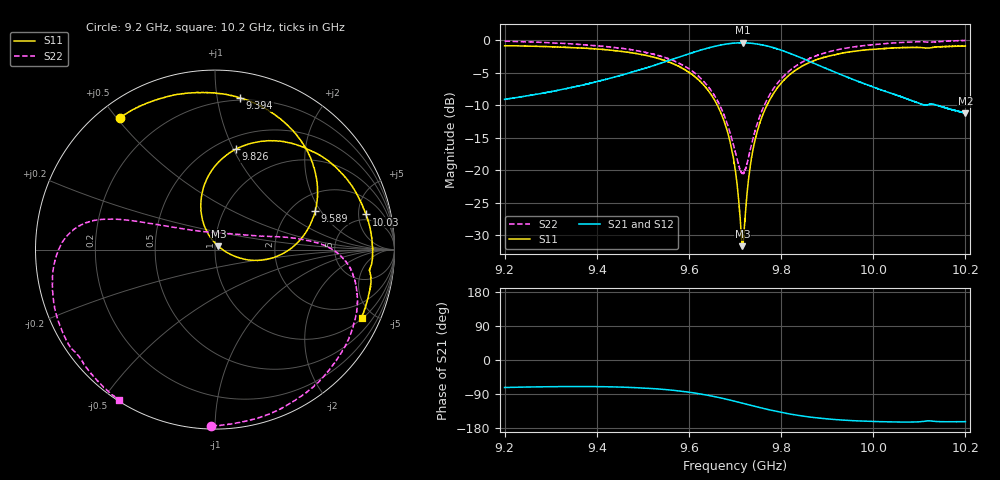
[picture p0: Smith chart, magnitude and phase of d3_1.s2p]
!Agilent Technologies,N5242A,MY51221714,A.09.90.19
!Agilent N5242A: A.09.90.19
!Date: Saturday, March 16, 2024 09:07:53
!Correction: S11(Full 2 Port(1,2))
!S21(Full 2 Port(1,2))
!S12(Full 2 Port(1,2))
!S22(Full 2 Port(1,2))
!S2P File: Measurements: S11, S21, S12, S22:
# Hz S  dB  R 50
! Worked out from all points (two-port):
!   16001 points, 9.2 GHz to 10.2 GHz, reference 50 ohm
!   highest |S21| = -0.41 dB at 9.718 GHz (marker M1); lowest = -11.2 dB at 10.2 GHz (marker M2)
!   |S21| within 3 dB of the highest: 9.545 GHz to 9.866 GHz (321.5 MHz wide, 3.31 % of centre)
!   lowest |S11| = -31.7 dB at 9.716 GHz (marker M3), VSWR 1.05, Z = 51.9 + j1.9 ohm
!   |S11| at or under -10 dB: 9.661 GHz to 9.769 GHz (108 MHz wide, 1.11 % of centre)
!   |S22| runs from -20.7 to -0.1 dB; largest |S21 - S12| = 0.012
!   S11 on the Smith chart (normalised r, x): 9.2 GHz: 0.06, +0.51; 9.394 GHz: 0.18, +1.16; 9.589 GHz: 2.67, +1.77; 9.826 GHz: 0.61, +1.02; 10.03 GHz: 4.00, +6.18; 10.2 GHz: 1.07, -4.27
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9.2e9  -0.87 125.8  -9.11 -72.6  -9.10 -73.1  -0.15 -91.2
9.277812e9  -0.98 108.4  -8.22 -70.8  -8.21 -71.3  -0.34 -69.5
9.366688e9  -1.23 87.5  -6.96 -70.1  -6.95 -70.6  -0.70 -45.9
9.39375e9  -1.34 80.7  -6.50 -70.2  -6.49 -70.7  -0.84 -38.7
9.533375e9  -2.82 40.9  -3.68 -76.4  -3.67 -76.9  -2.36 -8.0
9.589438e9  -4.48 20.9  -2.35 -83.3  -2.35 -83.8  -3.95 1.0
9.661625e9  -10.02 -8.8  -0.86 -98.2  -0.86 -98.7  -9.29 12.2
9.684125e9  -14.23 -17.2  -0.57 -104.3  -0.57 -104.9  -13.05 20.7
9.7e9  -19.63 -18.0  -0.46 -109.0  -0.44 -109.6  -17.05 37.3
9.71625e9  -31.69 44.6  -0.43 -114.0  -0.41 -114.5  -20.59 83.7
9.71775e9  -31.13 62.7  -0.41 -114.4  -0.40 -115.0  -20.46 89.3
9.7335e9  -19.16 113.9  -0.47 -119.3  -0.47 -119.9  -16.75 134.0
9.75175e9  -13.22 110.8  -0.65 -124.8  -0.63 -125.3  -12.09 150.6
9.783812e9  -8.18 97.2  -1.17 -133.9  -1.17 -134.5  -7.44 159.1
9.8265e9  -4.87 78.4  -2.24 -144.0  -2.24 -144.5  -4.26 164.0
9.866688e9  -3.30 62.5  -3.42 -151.2  -3.41 -151.7  -2.68 168.2
9.950438e9  -1.80 34.6  -5.88 -159.8  -5.89 -160.2  -1.13 -178.7
1.002956e10  -1.27 13.1  -7.96 -163.1  -7.96 -163.6  -0.51 -162.9
1.003338e10  -1.26 12.1  -8.06 -163.2  -8.05 -163.7  -0.49 -162.1
1.010562e10  -1.15 -5.4  -9.87 -162.5  -9.87 -163.0  -0.24 -146.2
1.019988e10  -0.92 -24.9  -11.24 -162.6  -11.22 -163.2  -0.05 -122.6
1.02e10  -0.92 -24.9  -11.22 -162.7  -11.21 -163.2  -0.06 -122.6
